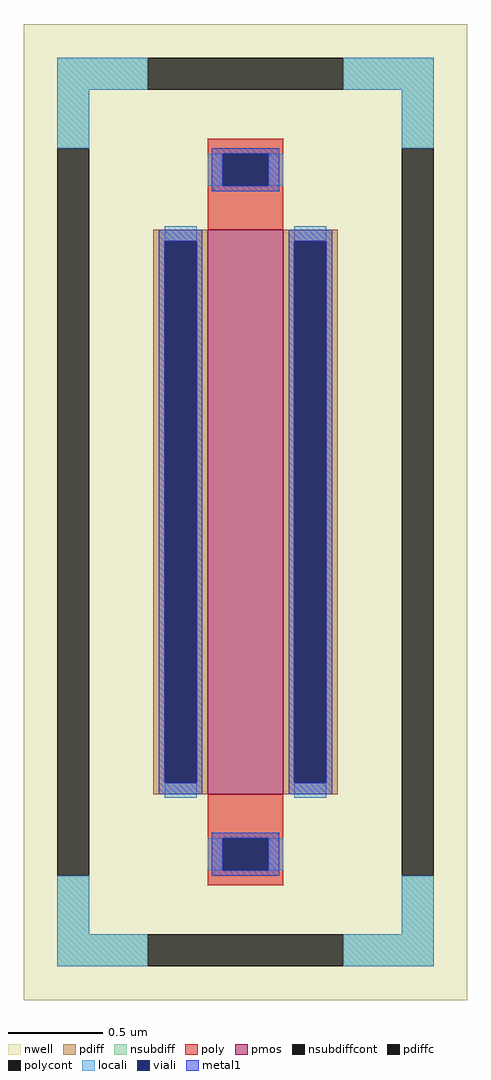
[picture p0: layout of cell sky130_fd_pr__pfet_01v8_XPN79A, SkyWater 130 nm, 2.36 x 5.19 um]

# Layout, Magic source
magic
tech sky130A
magscale 1 2
<< nwell >>
rect -236 -519 236 519
<< pmos >>
rect -40 -300 40 300
<< pdiff >>
rect -98 288 -40 300
rect -98 -288 -86 288
rect -52 -288 -40 288
rect -98 -300 -40 -288
rect 40 288 98 300
rect 40 -288 52 288
rect 86 -288 98 288
rect 40 -300 98 -288
<< pdiffc >>
rect -86 -288 -52 288
rect 52 -288 86 288
<< nsubdiff >>
rect -200 449 -104 483
rect 104 449 200 483
rect -200 387 -166 449
rect 166 387 200 449
rect -200 -449 -166 -387
rect 166 -449 200 -387
rect -200 -483 -104 -449
rect 104 -483 200 -449
<< nsubdiffcont >>
rect -104 449 104 483
rect -200 -387 -166 387
rect 166 -387 200 387
rect -104 -483 104 -449
<< poly >>
rect -40 381 40 397
rect -40 347 -24 381
rect 24 347 40 381
rect -40 300 40 347
rect -40 -347 40 -300
rect -40 -381 -24 -347
rect 24 -381 40 -347
rect -40 -397 40 -381
<< polycont >>
rect -24 347 24 381
rect -24 -381 24 -347
<< locali >>
rect -200 449 -104 483
rect 104 449 200 483
rect -200 387 -166 449
rect 166 387 200 449
rect -40 347 -24 381
rect 24 347 40 381
rect -86 288 -52 304
rect -86 -304 -52 -288
rect 52 288 86 304
rect 52 -304 86 -288
rect -40 -381 -24 -347
rect 24 -381 40 -347
rect -200 -449 -166 -387
rect 166 -449 200 -387
rect -200 -483 -104 -449
rect 104 -483 200 -449
<< viali >>
rect -24 347 24 381
rect -86 -288 -52 288
rect 52 -288 86 288
rect -24 -381 24 -347
<< metal1 >>
rect -36 381 36 387
rect -36 347 -24 381
rect 24 347 36 381
rect -36 341 36 347
rect -92 288 -46 300
rect -92 -288 -86 288
rect -52 -288 -46 288
rect -92 -300 -46 -288
rect 46 288 92 300
rect 46 -288 52 288
rect 86 -288 92 288
rect 46 -300 92 -288
rect -36 -347 36 -341
rect -36 -381 -24 -347
rect 24 -381 36 -347
rect -36 -387 36 -381
<< properties >>
string FIXED_BBOX -183 -466 183 466
string gencell sky130_fd_pr__pfet_01v8
string library sky130
string parameters w 3.0 l 0.4 m 1 nf 1 diffcov 100 polycov 100 guard 1 glc 1 grc 1 gtc 1 gbc 1 tbcov 100 rlcov 100 topc 1 botc 1 poverlap 0 doverlap 1 lmin 0.15 wmin 0.42 compatible {sky130_fd_pr__pfet_01v8  sky130_fd_pr__pfet_01v8_lvt sky130_fd_pr__pfet_01v8_hvt  sky130_fd_pr__pfet_g5v0d10v5} full_metal 1 viasrc 100 viadrn 100 viagate 100 viagb 0 viagr 0 viagl 0 viagt 0
<< end >>
